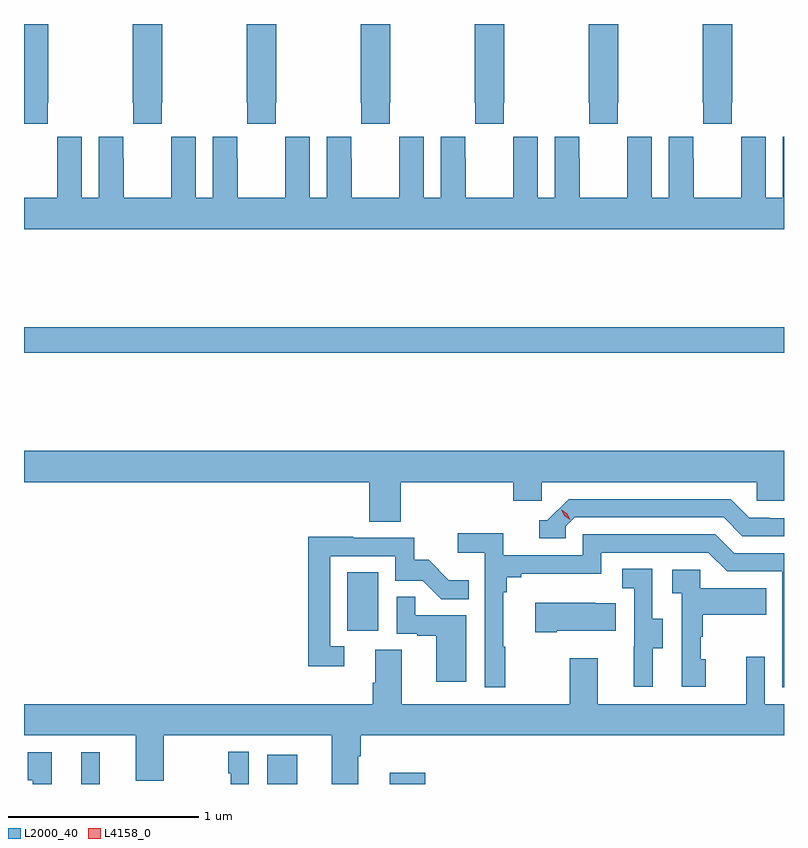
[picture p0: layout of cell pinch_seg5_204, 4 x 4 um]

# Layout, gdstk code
import gdstk
lib = gdstk.Library(unit=1e-6, precision=1e-09)
def R(c, l, rs):  # rectangles x0, y0, x1, y1
    for r in rs: c.add(gdstk.rectangle(r[:2], r[2:], *l))
def P(c, l, *ps):  # polygons
    for p in ps: c.add(gdstk.Polygon(p, *l))
L2000_40 = (2000, 40)
L4158_0 = (4158, 0)

pinch_seg5_204 = lib.new_cell('pinch_seg5_204')
R(pinch_seg5_204, L2000_40, [(995.087,904.455,995.186,904.621), (996.068,904.455,996.226,904.609), (996.711,904.455,996.899,904.513), (996.488,905.262,996.652,905.569), (994.787,906.724,998.787,906.86)])
P(pinch_seg5_204, L2000_40, [(998.511,908.041),(998.514,908.041),(998.514,908.455),(998.359,908.455),(998.359,908.041),(998.361,908.041),(998.361,907.929),(998.511,907.929)],
  [(997.911,908.041),(997.914,908.041),(997.914,908.455),(997.759,908.455),(997.759,908.041),(997.761,908.041),(997.761,907.929),(997.911,907.929)],
  [(997.311,908.041),(997.314,908.041),(997.314,908.455),(997.159,908.455),(997.159,908.041),(997.161,908.041),(997.161,907.929),(997.311,907.929)],
  [(996.711,908.041),(996.714,908.041),(996.714,908.455),(996.559,908.455),(996.559,908.041),(996.561,908.041),(996.561,907.929),(996.711,907.929)],
  [(996.111,908.041),(996.114,908.041),(996.114,908.455),(995.959,908.455),(995.959,908.041),(995.961,908.041),(995.961,907.929),(996.111,907.929)],
  [(995.511,908.041),(995.514,908.041),(995.514,908.455),(995.359,908.455),(995.359,908.041),(995.361,908.041),(995.361,907.929),(995.511,907.929)],
  [(994.911,908.041),(994.914,908.041),(994.914,908.455),(994.787,908.455),(994.787,907.929),(994.911,907.929)],
  [(996.162,907.861),(996.162,907.748),(996.161,907.748),(996.161,907.54),(995.911,907.54),(995.911,907.748),(995.91,907.748),(995.91,907.861),(995.78,907.861),(995.78,907.54),(995.692,907.54),(995.692,907.861),(995.562,907.861),(995.562,907.748),(995.561,907.748),(995.561,907.54),(995.311,907.54),(995.311,907.748),(995.31,907.748),(995.31,907.861),(995.18,907.861),(995.18,907.54),(995.092,907.54),(995.092,907.861),(994.962,907.861),(994.962,907.748),(994.961,907.748),(994.961,907.54),(994.787,907.54),(994.787,907.376),(998.787,907.376),(998.787,907.861),(998.78,907.861),(998.78,907.54),(998.692,907.54),(998.692,907.861),(998.562,907.861),(998.562,907.748),(998.561,907.748),(998.561,907.54),(998.311,907.54),(998.311,907.748),(998.31,907.748),(998.31,907.861),(998.18,907.861),(998.18,907.54),(998.092,907.54),(998.092,907.861),(997.962,907.861),(997.962,907.748),(997.961,907.748),(997.961,907.54),(997.711,907.54),(997.711,907.748),(997.71,907.748),(997.71,907.861),(997.58,907.861),(997.58,907.54),(997.492,907.54),(997.492,907.861),(997.362,907.861),(997.362,907.748),(997.361,907.748),(997.361,907.54),(997.111,907.54),(997.111,907.748),(997.11,907.748),(997.11,907.861),(996.98,907.861),(996.98,907.54),(996.892,907.54),(996.892,907.861),(996.762,907.861),(996.762,907.748),(996.761,907.748),(996.761,907.54),(996.511,907.54),(996.511,907.748),(996.51,907.748),(996.51,907.861),(996.38,907.861),(996.38,907.54),(996.292,907.54),(996.292,907.861)],
  [(996.77,906.044),(997.361,906.044),(997.361,905.946),(997.512,905.946),(997.512,906.044),(998.643,906.044),(998.643,905.946),(998.787,905.946),(998.787,906.208),(994.787,906.208),(994.787,906.044),(996.605,906.044),(996.605,905.836),(996.77,905.836)],
  [(997.638,905.811),(997.686,905.859),(998.469,905.859),(998.568,905.76),(998.787,905.76),(998.787,905.853),(998.712,905.853),(998.712,905.856),(998.605,905.856),(998.506,905.955),(997.653,905.955),(997.542,905.844),(997.499,905.844),(997.499,905.748),(997.638,905.748)],
  [(997.321,905.177),(997.309,905.177),(997.309,905.465),(997.328,905.465),(997.328,905.542),(997.405,905.542),(997.405,905.561),(997.824,905.561),(997.824,905.673),(998.388,905.673),(998.487,905.574),(998.778,905.574),(998.778,904.965),(998.787,904.965),(998.787,905.67),(998.524,905.67),(998.425,905.769),(997.728,905.769),(997.728,905.658),(997.31,905.658),(997.31,905.774),(997.071,905.774),(997.071,905.672),(997.212,905.672),(997.212,904.965),(997.321,904.965)],
  [(996.472,905.181),(996.399,905.181),(996.399,905.655),(996.741,905.655),(996.741,905.526),(996.885,905.526),(996.983,905.428),(997.127,905.428),(997.127,905.527),(997.023,905.527),(996.916,905.634),(996.84,905.634),(996.84,905.751),(996.521,905.751),(996.521,905.756),(996.283,905.756),(996.283,905.076),(996.472,905.076)],
  [(998.095,905.17),(998.149,905.17),(998.149,905.325),(998.094,905.325),(998.094,905.588),(997.935,905.588),(997.935,905.485),(997.998,905.485),(997.998,905.181),(997.997,905.181),(997.997,904.968),(998.095,904.968)],
  [(998.374,905.112),(998.349,905.112),(998.349,905.231),(998.359,905.231),(998.359,905.345),(998.693,905.345),(998.693,905.485),(998.346,905.485),(998.346,905.583),(998.199,905.583),(998.199,905.459),(998.25,905.459),(998.25,904.968),(998.374,904.968)],
  [(997.114,905.343),(996.845,905.343),(996.845,905.441),(996.75,905.441),(996.75,905.247),(996.857,905.247),(996.857,905.235),(996.956,905.235),(996.956,904.992),(997.114,904.992)],
  [(997.591,905.261),(997.901,905.261),(997.901,905.407),(997.793,905.407),(997.793,905.41),(997.479,905.41),(997.479,905.254),(997.591,905.254)],
  [(996.547,904.6),(996.56,904.6),(996.56,904.712),(998.787,904.712),(998.787,904.876),(998.685,904.876),(998.685,905.125),(998.588,905.125),(998.588,904.876),(997.807,904.876),(997.807,905.116),(997.66,905.116),(997.66,904.876),(996.775,904.876),(996.775,905.162),(996.635,905.162),(996.635,904.988),(996.623,904.988),(996.623,904.876),(994.787,904.876),(994.787,904.712),(995.375,904.712),(995.375,904.473),(995.523,904.473),(995.523,904.712),(996.407,904.712),(996.407,904.455),(996.547,904.455)],
  [(995.97,904.624),(995.862,904.624),(995.862,904.511),(995.874,904.511),(995.874,904.455),(995.97,904.455)],
  [(994.932,904.621),(994.808,904.621),(994.808,904.476),(994.834,904.476),(994.834,904.455),(994.932,904.455)])
P(pinch_seg5_204, L4158_0, [(997.663,905.845),(997.632,905.865),(997.615,905.898),(997.615,905.898),(997.616,905.898),(997.647,905.878),(997.663,905.846),(997.663,905.845)])

lib.write_gds('pinch_seg5_204.gds')
